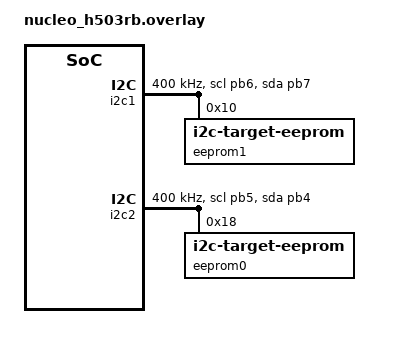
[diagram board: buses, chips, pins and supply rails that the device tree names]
/*
 * Copyright (c) 2025 STMicroelectronics
 * SPDX-License-Identifier: Apache-2.0
 */

/* I2C bus pins are exposed on the ST morpho header.
 *
 *  Bus        SDA                    SCL
 *          Pin   Hdr              Pin   Hdr
 *  i2c1    PB7   CN5:9            PB6   CN5:10/CN10:3
 *  i2c2    PB4   CN9:6/CN10:27     PB5   CN9:5/CN10:29
 *
 * Short Pin PB7 to PB4, and PB6 to PB5, for the test to pass.
 */

&i2c1 {
	pinctrl-0 = <&i2c1_scl_pb6 &i2c1_sda_pb7>;
	pinctrl-names = "default";
	status = "okay";
	clock-frequency = <I2C_BITRATE_FAST>;

	eeprom1: eeprom@10 {
		compatible = "zephyr,i2c-target-eeprom";
		reg = <0x10>;
		address-width = <16>;
		size = <1024>;
	};
};

&i2c2 {
	pinctrl-0 = <&i2c2_scl_pb5 &i2c2_sda_pb4>;
	pinctrl-names = "default";
	clock-frequency = <I2C_BITRATE_FAST>;
	status = "okay";

	eeprom0: eeprom@18 {
		compatible = "zephyr,i2c-target-eeprom";
		reg = <0x18>;
		address-width = <16>;
		size = <1024>;
	};
};
